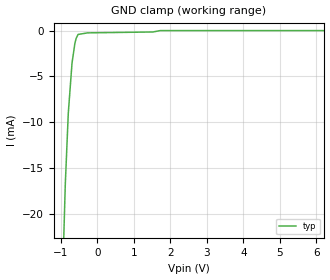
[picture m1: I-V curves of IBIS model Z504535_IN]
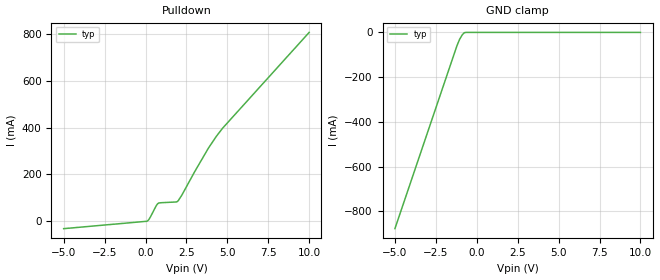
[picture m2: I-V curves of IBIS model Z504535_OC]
| YOU ARE ONLY AUTHORIZED TO USE THIS SOFTWARE
| ACCORDING TO LICENSOR'S LICENSE RESTRICTIONS.
[IBIS Ver] 3.1
[File Name] sn74ls145d.ibs
[File Rev] 2.0
[Source] Measured and created by ICX Technology
[Date] Friday 7/14/00 9:08:17 AM
[Copyright]
| (C) COPYRIGHT 1993-2000
| MENTOR GRAPHICS CORPORATION
| ICX STANDARD LIBRARY, ICX PROJECT MODELING,
| ICX CUSTOM MODELING, ICX VENDOR MODEL
| ALL RIGHTS RESERVED.
| THE FOLLOWING ARE TRADEMARKS OR SERVICE MARKS OF
| MENTOR GRAPHICS CORPORATION:ICX (R), ICX STANDARD
| LIBRARY(R), ICX PROJECT MODELING(R), ICX CUSTOM
| MODELING(R), qualityIBIS(TM), MODELVIEWER(TM),
| AND MODELEDITOR(TM)
| ALL COPIES OF SOFTWARE, INCLUDING BUT NOT LIMITED TO
| ANY MODIFICATIONS, ENHANCEMENTS OR DERIVATIVE WORKS,
| MUST CONTAIN ALL MENTOR GRAPHICS CORPORATION'S
| NOTICES AND LEGENDS, INCLUDING THOSE EMBEDDED IN
| SOFTWARE AND THOSE AFFIXED TO SOFTWARE MEDIUM
| AND CONTAINER, AS RECEIVED FROM MENTOR GRAPHICS
| CORPORATION.
|  ZAP Model Builder 2.7
[Component] SN74LS145D
[Manufacturer] OnSemiconductor
[Package]
| variable   typ   min   max
R_pkg  .156ohms NA NA
L_pkg  3.148nH NA NA
C_pkg  .388pF NA NA
[Pin] signal_name  model_name  R_pin  L_pin C_pin
1 _Y0 Z504535_OC .162 3.798n .418p
2 _Y1 Z504535_OC .158 3.358n .398p
3 _Y2 Z504535_OC .154 2.928n .378p
4 _Y3 Z504535_OC .15 2.508n .358p
5 _Y4 Z504535_OC .15 2.508n .358p
6 _Y5 Z504535_OC .154 2.928n .378p
7 _Y6 Z504535_OC .158 3.358n .398p
8 GND GND .162 3.798n .418p
9 _Y7 Z504535_OC .162 3.798n .418p
10 _Y8 Z504535_OC .158 3.358n .398p
11 _Y9 Z504535_OC .154 2.928n .378p
12 D Z504535_IN .15 2.508n .358p
13 C Z504535_IN .15 2.508n .358p
14 B Z504535_IN .154 2.928n .378p
15 A Z504535_IN .158 3.358n .398p
16 VCC POWER .162 3.798n .418p
| Models and submodels in the file (2): Z504535_IN (Input), Z504535_OC (Open_sink)
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| (C) COPYRIGHT 1993-2000
| MENTOR GRAPHICS CORPORATION
| ICX STANDARD LIBRARY, ICX PROJECT MODELING,
| ICX CUSTOM MODELING, ICX VENDOR MODEL
| ALL RIGHTS RESERVED.
| THE FOLLOWING ARE TRADEMARKS OR SERVICE MARKS OF
| MENTOR GRAPHICS CORPORATION:ICX (R), ICX STANDARD
| LIBRARY(R), ICX PROJECT MODELING(R), ICX CUSTOM
| MODELING(R), qualityIBIS(TM), MODELVIEWER(TM),
| AND MODELEDITOR(TM)
| ALL COPIES OF SOFTWARE, INCLUDING BUT NOT LIMITED TO
| ANY MODIFICATIONS, ENHANCEMENTS OR DERIVATIVE WORKS,
| MUST CONTAIN ALL MENTOR GRAPHICS CORPORATION'S
| NOTICES AND LEGENDS, INCLUDING THOSE EMBEDDED IN
| SOFTWARE AND THOSE AFFIXED TO SOFTWARE MEDIUM
| AND CONTAINER, AS RECEIVED FROM MENTOR GRAPHICS
| CORPORATION.
| Model Application Version 1.89 2/18/99.
[Model] Z504535_IN
Model_type Input
Vinl = 800.0mV
Vinh = 2.000V
C_comp 4.000pF NA NA
| variable typ   min   max
[Voltage Range] 5.000V NA NA
[GND Clamp Reference] 0.000V NA NA
[POWER Clamp Reference] 5.000V NA NA
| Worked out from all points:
|   GND clamp passes 1 mA (typ) near -0.59 V on its own axis
[GND Clamp]
-5V       -588.8mA   NA         NA
-877.8mV  -16.76mA   NA         NA
-795.8mV  -9.016mA   NA         NA
-693.4mV  -3.54mA    NA         NA
-614.5mV  -1.385mA   NA         NA
-581mV    -864uA     NA         NA
-527.2mV  -423.3uA   NA         NA
-263.6mV  -255.2uA   NA         NA
1.524V    -157.8uA   NA         NA
1.723V    -5.744uA   NA         NA
10V       -5.744uA   NA         NA
[POWER Clamp]
-5V       0A         NA         NA
10V       0A         NA         NA
| (C) COPYRIGHT 1993-2000
| MENTOR GRAPHICS CORPORATION
| ICX STANDARD LIBRARY, ICX PROJECT MODELING,
| ICX CUSTOM MODELING, ICX VENDOR MODEL
| ALL RIGHTS RESERVED.
| THE FOLLOWING ARE TRADEMARKS OR SERVICE MARKS OF
| MENTOR GRAPHICS CORPORATION:ICX (R), ICX STANDARD
| LIBRARY(R), ICX PROJECT MODELING(R), ICX CUSTOM
| MODELING(R), qualityIBIS(TM), MODELVIEWER(TM),
| AND MODELEDITOR(TM)
| ALL COPIES OF SOFTWARE, INCLUDING BUT NOT LIMITED TO
| ANY MODIFICATIONS, ENHANCEMENTS OR DERIVATIVE WORKS,
| MUST CONTAIN ALL MENTOR GRAPHICS CORPORATION'S
| NOTICES AND LEGENDS, INCLUDING THOSE EMBEDDED IN
| SOFTWARE AND THOSE AFFIXED TO SOFTWARE MEDIUM
| AND CONTAINER, AS RECEIVED FROM MENTOR GRAPHICS
| CORPORATION.
| Model Application Version 1.89 2/18/99.
[Model] Z504535_OC
Model_type Open_sink
Vref=5.000V
Rref=2.001kohms
Cref=15.00pF
Vmeas=1.300V
C_comp 8.000pF NA NA
| variable typ   min   max
[Voltage Range] 5.000V NA NA
[POWER Clamp Reference] 5.000V NA NA
[Pullup Reference] 5.000V NA NA
[Pulldown Reference] 0.000V NA NA
[GND Clamp Reference] 0.000V NA NA
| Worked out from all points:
|   slope of the pulldown table from 0 to 0.75 V, typ, clamps not added: 9.94 ohm
|   GND clamp passes 1 mA (typ) near -0.73 V on its own axis
[GND Clamp]
-5V       -877mA     NA         NA
-1.211V   -59.68mA   NA         NA
-1.045V   -30.46mA   NA         NA
-887.1mV  -10.97mA   NA         NA
-761.7mV  -1.387mA   NA         NA
-652.9mV  0A         NA         NA
10V       0A         NA         NA
[Pulldown]
-5V       -32.38mA   NA         NA
68.51mV   -829.7uA   NA         NA
202.7mV   6.547mA    NA         NA
654.3mV   65.68mA    NA         NA
801mV     76.98mA    NA         NA
1.935V    83.21mA    NA         NA
2.206V    109.2mA    NA         NA
3.008V    211.7mA    NA         NA
3.839V    311.4mA    NA         NA
4.321V    361.8mA    NA         NA
4.703V    396.6mA    NA         NA
10V       806.9mA    NA         NA
[POWER Clamp]
-5V       0A         NA         NA
10V       0A         NA         NA
[Ramp]
| variable typ min max
dV/dt_r 2.815/16.64n NA NA
dV/dt_f 2.815/4.919n NA NA
R_load = 250.0Ohms
